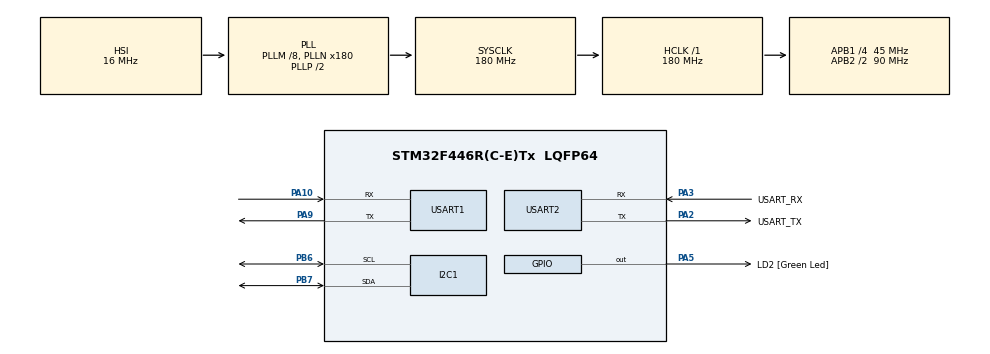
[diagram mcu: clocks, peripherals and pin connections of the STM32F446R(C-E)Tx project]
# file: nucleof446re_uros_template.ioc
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Dma.I2C1_RX.4.Direction=DMA_PERIPH_TO_MEMORY
Dma.I2C1_RX.4.FIFOMode=DMA_FIFOMODE_DISABLE
Dma.I2C1_RX.4.Instance=DMA1_Stream0
Dma.I2C1_RX.4.MemDataAlignment=DMA_MDATAALIGN_BYTE
Dma.I2C1_RX.4.MemInc=DMA_MINC_ENABLE
Dma.I2C1_RX.4.Mode=DMA_NORMAL
Dma.I2C1_RX.4.PeriphDataAlignment=DMA_PDATAALIGN_BYTE
Dma.I2C1_RX.4.PeriphInc=DMA_PINC_DISABLE
Dma.I2C1_RX.4.Priority=DMA_PRIORITY_LOW
Dma.I2C1_TX.5.Direction=DMA_MEMORY_TO_PERIPH
Dma.I2C1_TX.5.FIFOMode=DMA_FIFOMODE_DISABLE
Dma.I2C1_TX.5.Instance=DMA1_Stream7
Dma.I2C1_TX.5.MemDataAlignment=DMA_MDATAALIGN_BYTE
Dma.I2C1_TX.5.MemInc=DMA_MINC_ENABLE
Dma.I2C1_TX.5.Mode=DMA_NORMAL
Dma.I2C1_TX.5.PeriphDataAlignment=DMA_PDATAALIGN_BYTE
Dma.I2C1_TX.5.PeriphInc=DMA_PINC_DISABLE
Dma.I2C1_TX.5.Priority=DMA_PRIORITY_LOW
Dma.Request0=USART2_RX
Dma.Request1=USART2_TX
Dma.Request2=USART1_TX
Dma.Request3=USART1_RX
Dma.Request4=I2C1_RX
Dma.Request5=I2C1_TX
Dma.USART1_RX.3.Direction=DMA_PERIPH_TO_MEMORY
Dma.USART1_RX.3.FIFOMode=DMA_FIFOMODE_DISABLE
Dma.USART1_RX.3.Instance=DMA2_Stream2
Dma.USART1_RX.3.MemDataAlignment=DMA_MDATAALIGN_BYTE
Dma.USART1_RX.3.MemInc=DMA_MINC_ENABLE
Dma.USART1_RX.3.Mode=DMA_NORMAL
Dma.USART1_RX.3.PeriphDataAlignment=DMA_PDATAALIGN_BYTE
Dma.USART1_RX.3.PeriphInc=DMA_PINC_DISABLE
Dma.USART1_RX.3.Priority=DMA_PRIORITY_LOW
Dma.USART1_TX.2.Direction=DMA_MEMORY_TO_PERIPH
Dma.USART1_TX.2.FIFOMode=DMA_FIFOMODE_DISABLE
Dma.USART1_TX.2.Instance=DMA2_Stream7
Dma.USART1_TX.2.MemDataAlignment=DMA_MDATAALIGN_BYTE
Dma.USART1_TX.2.MemInc=DMA_MINC_ENABLE
Dma.USART1_TX.2.Mode=DMA_NORMAL
Dma.USART1_TX.2.PeriphDataAlignment=DMA_PDATAALIGN_BYTE
Dma.USART1_TX.2.PeriphInc=DMA_PINC_DISABLE
Dma.USART1_TX.2.Priority=DMA_PRIORITY_LOW
Dma.USART2_RX.0.Direction=DMA_PERIPH_TO_MEMORY
Dma.USART2_RX.0.FIFOMode=DMA_FIFOMODE_DISABLE
Dma.USART2_RX.0.Instance=DMA1_Stream5
Dma.USART2_RX.0.MemDataAlignment=DMA_MDATAALIGN_BYTE
Dma.USART2_RX.0.MemInc=DMA_MINC_ENABLE
Dma.USART2_RX.0.Mode=DMA_CIRCULAR
Dma.USART2_RX.0.PeriphDataAlignment=DMA_PDATAALIGN_BYTE
Dma.USART2_RX.0.PeriphInc=DMA_PINC_DISABLE
Dma.USART2_RX.0.Priority=DMA_PRIORITY_LOW
Dma.USART2_TX.1.Direction=DMA_MEMORY_TO_PERIPH
Dma.USART2_TX.1.FIFOMode=DMA_FIFOMODE_DISABLE
Dma.USART2_TX.1.Instance=DMA1_Stream6
Dma.USART2_TX.1.MemDataAlignment=DMA_MDATAALIGN_BYTE
Dma.USART2_TX.1.MemInc=DMA_MINC_ENABLE
Dma.USART2_TX.1.Mode=DMA_NORMAL
Dma.USART2_TX.1.PeriphDataAlignment=DMA_PDATAALIGN_BYTE
Dma.USART2_TX.1.PeriphInc=DMA_PINC_DISABLE
Dma.USART2_TX.1.Priority=DMA_PRIORITY_LOW
FREERTOS.INCLUDE_xTaskGetHandle=1
FREERTOS.Tasks01=defaultTask,16,1500,StartDefaultTask,Default,NULL,Dynamic,NULL,NULL
FREERTOS.configENABLE_FPU=1
FREERTOS.configTOTAL_HEAP_SIZE=50000
I2C1.I2C_Mode=I2C_Fast
Mcu.Family=STM32F4
Mcu.Name=STM32F446R(C-E)Tx
Mcu.Package=LQFP64
NVIC.DMA1_Stream0_IRQn=true\:5\:0\:false\:false\:true\:true\:false\:true\:true
NVIC.DMA1_Stream5_IRQn=true\:5\:0\:false\:false\:true\:true\:false\:true\:true
NVIC.DMA1_Stream6_IRQn=true\:5\:0\:false\:false\:true\:true\:false\:true\:true
NVIC.DMA1_Stream7_IRQn=true\:5\:0\:false\:false\:true\:true\:false\:true\:true
NVIC.DMA2_Stream2_IRQn=true\:5\:0\:false\:false\:true\:true\:false\:true\:true
NVIC.DMA2_Stream7_IRQn=true\:5\:0\:false\:false\:true\:true\:false\:true\:true
NVIC.I2C1_EV_IRQn=true\:5\:0\:false\:false\:true\:true\:true\:true\:true
NVIC.PriorityGroup=NVIC_PRIORITYGROUP_4
NVIC.TIM6_DAC_IRQn=true\:0\:0\:false\:false\:true\:false\:false\:true\:true
NVIC.TimeBase=TIM6_DAC_IRQn
NVIC.TimeBaseIP=TIM6
NVIC.USART1_IRQn=true\:5\:0\:false\:false\:true\:true\:true\:true\:true
NVIC.USART2_IRQn=true\:5\:0\:false\:false\:true\:true\:true\:true\:true
PA10.Mode=Asynchronous
PA10.Signal=USART1_RX
PA13.GPIO_Label=TMS
PA13.Mode=Serial_Wire
PA13.Signal=SYS_JTMS-SWDIO
PA14.GPIO_Label=TCK
PA14.Mode=Serial_Wire
PA14.Signal=SYS_JTCK-SWCLK
PA2.GPIO_Label=USART_TX
PA2.Mode=Asynchronous
PA2.Signal=USART2_TX
PA3.GPIO_Label=USART_RX
PA3.Mode=Asynchronous
PA3.Signal=USART2_RX
PA5.GPIO_Label=LD2 [Green Led]
PA5.Signal=GPIO_Output
PA9.Mode=Asynchronous
PA9.Signal=USART1_TX
PB3.GPIO_Label=SWO
PB3.Signal=SYS_JTDO-SWO
PB6.GPIO_Pu=GPIO_PULLUP
PB6.Mode=I2C
PB6.Signal=I2C1_SCL
PB7.GPIO_Pu=GPIO_PULLUP
PB7.Mode=I2C
PB7.Signal=I2C1_SDA
PC14-OSC32_IN.Mode=LSE-External-Oscillator
PC14-OSC32_IN.Signal=RCC_OSC32_IN
PC15-OSC32_OUT.Mode=LSE-External-Oscillator
PC15-OSC32_OUT.Signal=RCC_OSC32_OUT
PH0-OSC_IN.Mode=HSE-External-Oscillator
PH0-OSC_IN.Signal=RCC_OSC_IN
PH1-OSC_OUT.Mode=HSE-External-Oscillator
PH1-OSC_OUT.Signal=RCC_OSC_OUT
ProjectManager.HeapSize=0x200
ProjectManager.StackSize=0x400
ProjectManager.TargetToolchain=Makefile
RCC.48MHZClocksFreq_Value=84000000
RCC.AHBFreq_Value=180000000
RCC.APB1CLKDivider=RCC_HCLK_DIV4
RCC.APB1Freq_Value=45000000
RCC.APB1TimFreq_Value=90000000
RCC.APB2CLKDivider=RCC_HCLK_DIV2
RCC.APB2Freq_Value=90000000
RCC.APB2TimFreq_Value=180000000
RCC.CortexFreq_Value=180000000
RCC.FLatency-AdvancedSettings=FLASH_LATENCY_5
RCC.HCLKFreq_Value=180000000
RCC.HSE_VALUE=8000000
RCC.HSI_VALUE=16000000
RCC.PLLM=8
RCC.PLLN=180
RCC.SYSCLKFreq_VALUE=180000000
RCC.SYSCLKSource=RCC_SYSCLKSOURCE_PLLCLK
RCC.USBFreq_Value=180000000
RCC.VCOOutputFreq_Value=360000000
USART1.VirtualMode=VM_ASYNC
USART2.VirtualMode=VM_ASYNC
VP_FREERTOS_VS_CMSIS_V2.Mode=CMSIS_V2
VP_SYS_VS_tim6.Mode=TIM6
board=NUCLEO-F446RE

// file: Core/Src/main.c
/* USER CODE BEGIN Header */
/**
  ******************************************************************************
  * @file           : main.c
  * @brief          : Main program body
  ******************************************************************************
  * @attention
  *
  * <h2><center>&copy; Copyright (c) 2020 STMicroelectronics.
  * All rights reserved.</center></h2>
  *
  * This software component is licensed by ST under Ultimate Liberty license
  * SLA0044, the "License"; You may not use this file except in compliance with
  * the License. You may obtain a copy of the License at:
  *                             www.st.com/SLA0044
  *
  ******************************************************************************
  */
/* USER CODE END Header */
#include "main.h"
#include "cmsis_os.h"
#include "dma.h"
#include "i2c.h"
#include "usart.h"
#include "gpio.h"

/* USER CODE BEGIN PV */

I2C_HandleTypeDef hi2c1;

/* USER CODE END PV */

void SystemClock_Config(void);
void MX_FREERTOS_Init(void);
/* USER CODE BEGIN PFP */
#define BUFSIZE 4096
char buffer[BUFSIZE];
extern struct netif gnetif;
UART_HandleTypeDef *printf_uart = &huart1;
/* USER CODE END PFP */

int main(void)
{

  /* MCU Configuration--------------------------------------------------------*/

  /* Reset of all peripherals, Initializes the Flash interface and the Systick. */
  HAL_Init();

  /* Configure the system clock */
  SystemClock_Config();

  /* Initialize all configured peripherals */
  MX_GPIO_Init();
  MX_DMA_Init();
  MX_USART2_UART_Init();
  MX_USART1_UART_Init();
  MX_I2C1_Init();

  /* Init scheduler */
  osKernelInitialize();  /* Call init function for freertos objects (in cmsis_os2.c) */
  MX_FREERTOS_Init();

  /* Start scheduler */
  osKernelStart();

  /* We should never get here as control is now taken by the scheduler */

  /* Infinite loop */
  while (1)
  {

  }
}

void SystemClock_Config(void)
{
  RCC_OscInitTypeDef RCC_OscInitStruct = {0};
  RCC_ClkInitTypeDef RCC_ClkInitStruct = {0};

  /** Configure the main internal regulator output voltage
  */
  __HAL_RCC_PWR_CLK_ENABLE();
  __HAL_PWR_VOLTAGESCALING_CONFIG(PWR_REGULATOR_VOLTAGE_SCALE1);

  /** Initializes the RCC Oscillators according to the specified parameters
  * in the RCC_OscInitTypeDef structure.
  */
  RCC_OscInitStruct.OscillatorType = RCC_OSCILLATORTYPE_HSI;
  RCC_OscInitStruct.HSIState = RCC_HSI_ON;
  RCC_OscInitStruct.HSICalibrationValue = RCC_HSICALIBRATION_DEFAULT;
  RCC_OscInitStruct.PLL.PLLState = RCC_PLL_ON;
  RCC_OscInitStruct.PLL.PLLSource = RCC_PLLSOURCE_HSI;
  RCC_OscInitStruct.PLL.PLLM = 8;
  RCC_OscInitStruct.PLL.PLLN = 180;
  RCC_OscInitStruct.PLL.PLLP = RCC_PLLP_DIV2;
  RCC_OscInitStruct.PLL.PLLQ = 2;
  RCC_OscInitStruct.PLL.PLLR = 2;
  if (HAL_RCC_OscConfig(&RCC_OscInitStruct) != HAL_OK)
  {
    Error_Handler();
  }

  /** Activate the Over-Drive mode
  */
  if (HAL_PWREx_EnableOverDrive() != HAL_OK)
  {
    Error_Handler();
  }

  /** Initializes the CPU, AHB and APB buses clocks
  */
  RCC_ClkInitStruct.ClockType = RCC_CLOCKTYPE_HCLK|RCC_CLOCKTYPE_SYSCLK
                              |RCC_CLOCKTYPE_PCLK1|RCC_CLOCKTYPE_PCLK2;
  RCC_ClkInitStruct.SYSCLKSource = RCC_SYSCLKSOURCE_PLLCLK;
  RCC_ClkInitStruct.AHBCLKDivider = RCC_SYSCLK_DIV1;
  RCC_ClkInitStruct.APB1CLKDivider = RCC_HCLK_DIV4;
  RCC_ClkInitStruct.APB2CLKDivider = RCC_HCLK_DIV2;

  if (HAL_RCC_ClockConfig(&RCC_ClkInitStruct, FLASH_LATENCY_5) != HAL_OK)
  {
    Error_Handler();
  }
}

/* USER CODE BEGIN 4 */
void MX_I2C1_Init(void)
{
  hi2c1.Instance = I2C1;
  hi2c1.Init.ClockSpeed = 100000;
  hi2c1.Init.DutyCycle = I2C_DUTYCYCLE_2;
  hi2c1.Init.OwnAddress1 = 0;
  hi2c1.Init.AddressingMode = I2C_ADDRESSINGMODE_7BIT;
  hi2c1.Init.DualAddressMode = I2C_DUALADDRESS_DISABLE;
  hi2c1.Init.OwnAddress2 = 0;
  hi2c1.Init.GeneralCallMode = I2C_GENERALCALL_DISABLE;
  hi2c1.Init.NoStretchMode = I2C_NOSTRETCH_DISABLE;
  if (HAL_I2C_Init(&hi2c1) != HAL_OK)
  {
    Error_Handler();
  }
}

// I2C1 ピン設定 (PB6=SCL, PB7=SDA)
void HAL_I2C_MspInit(I2C_HandleTypeDef* hi2c)
{
  GPIO_InitTypeDef GPIO_InitStruct = {0};
  if(hi2c->Instance==I2C1)
  {
    // クロック有効化
    __HAL_RCC_GPIOB_CLK_ENABLE();
    __HAL_RCC_I2C1_CLK_ENABLE();

    /**I2C1 GPIO Configuration
    PB6     ------> I2C1_SCL
    PB7     ------> I2C1_SDA
    */
    GPIO_InitStruct.Pin = GPIO_PIN_6|GPIO_PIN_7;
    GPIO_InitStruct.Mode = GPIO_MODE_AF_OD;
    GPIO_InitStruct.Pull = GPIO_PULLUP;
    GPIO_InitStruct.Speed = GPIO_SPEED_FREQ_VERY_HIGH;
    GPIO_InitStruct.Alternate = GPIO_AF4_I2C1;
    HAL_GPIO_Init(GPIOB, &GPIO_InitStruct);
  }
}
/* USER CODE END 4 */

void HAL_TIM_PeriodElapsedCallback(TIM_HandleTypeDef *htim)
{
  if (htim->Instance == TIM6)
  {
    HAL_IncTick();
  }
}

void Error_Handler(void)
{
  /* USER CODE BEGIN Error_Handler_Debug */
  /* User can add his own implementation to report the HAL error return state */
  /*
  __disable_irq();
  while (1)
  {
  }
  */
  /* USER CODE END Error_Handler_Debug */
}

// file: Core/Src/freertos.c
/* USER CODE BEGIN Header */
/**
  ******************************************************************************
  * File Name          : freertos.c
  * Description        : Code for freertos applications
  ******************************************************************************
  * @attention
  *
  * <h2><center>&copy; Copyright (c) 2020 STMicroelectronics.
  * All rights reserved.</center></h2>
  *
  * This software component is licensed by ST under Ultimate Liberty license
  * SLA0044, the "License"; You may not use this file except in compliance with
  * the License. You may obtain a copy of the License at:
  * www.st.com/SLA0044
  *
  ******************************************************************************
  */
/* USER CODE END Header */

#include "FreeRTOS.h"
#include "task.h"
#include "main.h"
#include "cmsis_os.h"

/* USER CODE BEGIN Includes */
#include <stdbool.h>
#include "allocators.h"
#include "cmsis_os2.h"
#include <usart.h>
#include <string.h>
#include <math.h>

// micro-ROS headers
#include <rcl/rcl.h>
#include <rcl/error_handling.h>
#include <rclc/rclc.h>
#include <rclc/executor.h>
#include <rmw_microxrcedds_c/config.h>
#include <ucdr/microcdr.h>
#include <uxr/client/client.h>
#include <rmw_microros/rmw_microros.h>
#include <microros_transports.h>

// Sensor & Driver headers
#include "imu.h"
#include <sensor_msgs/msg/imu.h>
/* USER CODE END Includes */

/* USER CODE BEGIN PD */
#define RCCHECK(fn) { rcl_ret_t temp_rc = fn; if((temp_rc != RCL_RET_OK)){printf("Failed status on line %d: %d. Aborting.\n",__LINE__,(int)temp_rc);}}
#define RCSOFTCHECK(fn) { rcl_ret_t temp_rc = fn; if((temp_rc != RCL_RET_OK)){printf("Failed status on line %d: %d. Continuing.\n",__LINE__,(int)temp_rc);}}
/* USER CODE END PD */

/* USER CODE BEGIN Variables */
extern I2C_HandleTypeDef hi2c1; // main.c で定義されたI2Cハンドル

// BNO055 & micro-ROS Entities
BNO055_Handler bno;
rcl_publisher_t imu_publisher;
sensor_msgs__msg__Imu imu_msg;

// Node & Support
rclc_support_t support;
rcl_allocator_t allocator;
rcl_node_t node;
rclc_executor_t executor;
/* USER CODE END Variables */
/* Definitions for defaultTask */
osThreadId_t defaultTaskHandle;
const osThreadAttr_t defaultTask_attributes = {
  .name = "defaultTask",
  .stack_size = 1500 * 4,
  .priority = (osPriority_t) osPriorityBelowNormal,
};

/* USER CODE BEGIN FunctionPrototypes */
void bno055_imu_task(void *argument); // IMUタスクのプロトタイプ宣言
/* USER CODE END FunctionPrototypes */

void StartDefaultTask(void *argument);

void MX_FREERTOS_Init(void); /* (MISRA C 2004 rule 8.1) */

void MX_FREERTOS_Init(void) {

  /* Create the thread(s) */
  /* creation of defaultTask */
  defaultTaskHandle = osThreadNew(StartDefaultTask, NULL, &defaultTask_attributes);

}

void StartDefaultTask(void *argument)
{
  /* USER CODE BEGIN StartDefaultTask */
  /* Infinite loop */
  HAL_GPIO_WritePin(GPIOG, GPIO_PIN_6, GPIO_PIN_SET); // Debug LED
  bool availableNetwork = false;

#ifdef RMW_UXRCE_TRANSPORT_CUSTOM
  availableNetwork = true;
  rmw_uros_set_custom_transport(
    true,
    (void *) &huart2,
    freertos_serial_open,
    freertos_serial_close,
    freertos_serial_write,
    freertos_serial_read);
#elif defined(RMW_UXRCE_TRANSPORT_UDP)
  printf("Ethernet Initialization\r\n");

  // Waiting for an IP
  printf("Waiting for IP\r\n");
  int retries = 0;
  while (gnetif.ip_addr.addr == 0 && retries < 10) {
    osDelay(500);
    retries++;
  };

  availableNetwork = (gnetif.ip_addr.addr != 0);
  if (availableNetwork) {
    printf("IP: %s\r\n", ip4addr_ntoa(&gnetif.ip_addr));
  } else {
    printf("Impossible to retrieve an IP\n");
  }
#endif

  // Launch app thread when IP configured
  rcl_allocator_t freeRTOS_allocator = rcutils_get_zero_initialized_allocator();
  freeRTOS_allocator.allocate = __freertos_allocate;
  freeRTOS_allocator.deallocate = __freertos_deallocate;
  freeRTOS_allocator.reallocate = __freertos_reallocate;
  freeRTOS_allocator.zero_allocate = __freertos_zero_allocate;

  if (!rcutils_set_default_allocator(&freeRTOS_allocator))
  {
    printf("Error on default allocators (line %d)\n", __LINE__);
  }

  // --- タスク生成の変更点 ---
  osThreadAttr_t attributes;
  memset(&attributes, 0x0, sizeof(osThreadAttr_t));
  attributes.name = "microROS_imu";
  attributes.stack_size = 5 * 3000;
  attributes.priority = (osPriority_t)osPriorityNormal1;

  // ここで appMain ではなく、独自の bno055_imu_task を呼び出します
  if (availableNetwork) {
      osThreadNew(bno055_imu_task, NULL, &attributes);
  }

  osDelay(500);
  char ptrTaskList[500];
  vTaskList(ptrTaskList);
  printf("**********************************\n");
  printf("Task  State    Prio     Stack     Num\n");
  printf("**********************************\n");
  printf(ptrTaskList);
  printf("**********************************\n");

  // メインループ: 通信状態に応じてLEDを点滅させるだけ
  TaskHandle_t xHandle;
  xHandle = xTaskGetHandle("microROS_imu");

  while (1)
  {
    if (xHandle != NULL && eTaskGetState(xHandle) != eSuspended && availableNetwork)
    {
      HAL_GPIO_WritePin(LD2_GPIO_Port, LD2_Pin, GPIO_PIN_RESET);
      osDelay(100);
      HAL_GPIO_WritePin(LD2_GPIO_Port, LD2_Pin, GPIO_PIN_SET);
      osDelay(100);
      HAL_GPIO_WritePin(LD2_GPIO_Port, LD2_Pin, GPIO_PIN_RESET);
      osDelay(150);
      HAL_GPIO_WritePin(LD2_GPIO_Port, LD2_Pin, GPIO_PIN_SET);
      osDelay(500);
    }
    else
    {
      HAL_GPIO_WritePin(LD2_GPIO_Port, LD2_Pin, GPIO_PIN_RESET);
      osDelay(1000);
      HAL_GPIO_WritePin(LD2_GPIO_Port, LD2_Pin, GPIO_PIN_SET);
      osDelay(1000);
    }
  }
  /* USER CODE END StartDefaultTask */
}

/* USER CODE BEGIN Application */

/**
 * @brief BNO055 IMU 読み取り & micro-ROS Publish タスク
 */
void bno055_imu_task(void *argument)
{
    // 1. micro-ROS 初期化
    allocator = rcl_get_default_allocator();

    // サポート構造体の初期化
    rclc_support_init(&support, 0, NULL, &allocator);

    // ノードの作成 ("stm32_imu_node")
    rclc_node_init_default(&node, "stm32_imu_node", "", &support);

    // Publisherの作成 ("/imu/data", sensor_msgs/Imu)
    rclc_publisher_init_default(
        &imu_publisher,
        &node,
        ROSIDL_GET_MSG_TYPE_SUPPORT(sensor_msgs, msg, Imu),
        "/imu/data"
    );

    // Executorの作成 (Subscriptionがない場合は必須ではないが、spin用に作っておくのが定石)
    rclc_executor_init(&executor, &support.context, 1, &allocator);

    // 2. BNO055 センサーの初期化
    BNO055_Init_Struct(&bno, &hi2c1, BNO055_ADDRESS_A);

    // 接続待ちループ
    bool sensor_ready = false;
    while(!sensor_ready) {
        if(BNO055_Begin(&bno, OPERATION_MODE_NDOF)) {
            sensor_ready = true;
        } else {
            // 初期化失敗時は少し待ってリトライ
            osDelay(1000);
        }
    }

    // 外部水晶の使用 (精度向上)
    BNO055_SetExtCrystalUse(&bno, true);

    // メッセージのフレームID設定
    imu_msg.header.frame_id.data = "imu_link";
    imu_msg.header.frame_id.size = strlen(imu_msg.header.frame_id.data);
    imu_msg.header.frame_id.capacity = imu_msg.header.frame_id.size + 1;

    // 定数: Degree per Second -> Radian per Second 変換用
    const double dps_to_rads = 0.01745329252;

    // 3. メイン処理ループ
    for(;;)
    {
        // ----------------------------------------
        // A. Orientation (Quaternion)
        // ----------------------------------------
        BNO055_Quaternion q = BNO055_GetQuat(&bno);
        imu_msg.orientation.w = q.w;
        imu_msg.orientation.x = q.x;
        imu_msg.orientation.y = q.y;
        imu_msg.orientation.z = q.z;

        // ----------------------------------------
        // B. Angular Velocity (Gyroscope)
        // ----------------------------------------
        BNO055_Vector3 gyro = BNO055_GetVector(&bno, VECTOR_GYROSCOPE);
        imu_msg.angular_velocity.x = gyro.x * dps_to_rads;
        imu_msg.angular_velocity.y = gyro.y * dps_to_rads;
        imu_msg.angular_velocity.z = gyro.z * dps_to_rads;

        // ----------------------------------------
        // C. Linear Acceleration (Gravity removed)
        // ----------------------------------------
        BNO055_Vector3 accel = BNO055_GetVector(&bno, VECTOR_LINEARACCEL);
        imu_msg.linear_acceleration.x = accel.x;
        imu_msg.linear_acceleration.y = accel.y;
        imu_msg.linear_acceleration.z = accel.z;

        // ----------------------------------------
        // データ配信 (Publish)
        // ----------------------------------------
        rcl_ret_t rc = rcl_publish(&imu_publisher, &imu_msg, NULL);
        if (rc != RCL_RET_OK) {
            // エラーハンドリング (必要なら)
        }

        // Executor処理 (TimerやSubがあればここで処理される)
        rclc_executor_spin_some(&executor, RCL_MS_TO_NS(10));

        // ループ周期 (100ms = 10Hz)
        osDelay(100);
    }
}

/* USER CODE END Application */
